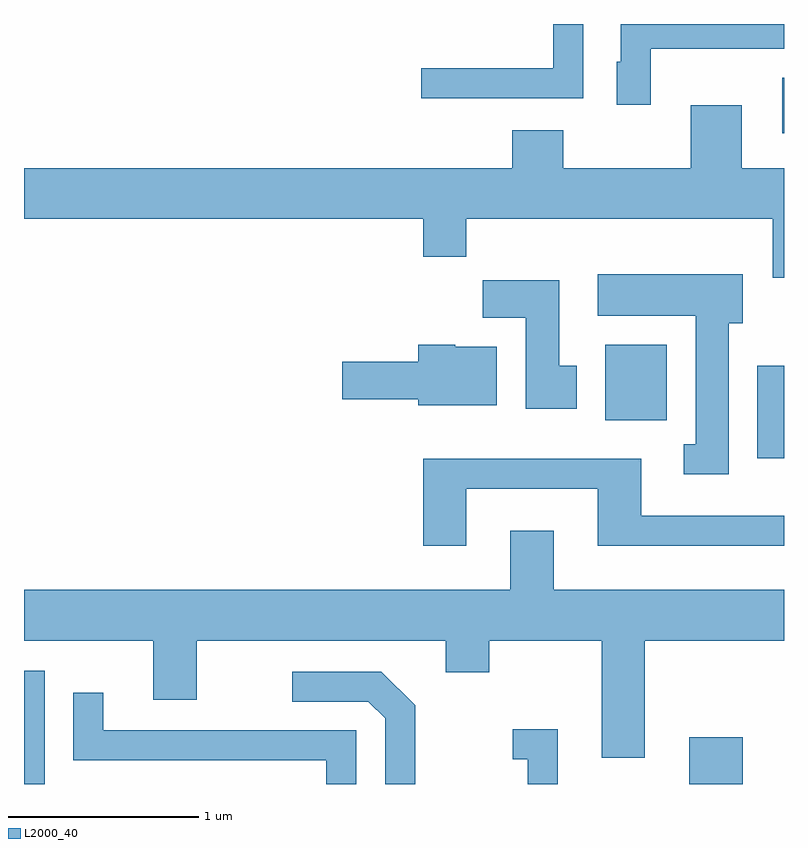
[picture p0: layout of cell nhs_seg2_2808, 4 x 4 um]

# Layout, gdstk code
import gdstk
lib = gdstk.Library(unit=1e-6, precision=1e-09)
def R(c, l, rs):  # rectangles x0, y0, x1, y1
    for r in rs: c.add(gdstk.rectangle(r[:2], r[2:], *l))
def P(c, l, *ps):  # polygons
    for p in ps: c.add(gdstk.Polygon(p, *l))
L2000_40 = (2000, 40)

nhs_seg2_2808 = lib.new_cell('nhs_seg2_2808')
R(nhs_seg2_2808, L2000_40, [(267.611,1029.802,267.719,1030.399), (271.111,1029.802,271.394,1030.049), (271.471,1031.516,271.611,1032.004), (270.671,1031.716,270.994,1032.114), (271.601,1033.226,271.611,1033.519)])
P(nhs_seg2_2808, L2000_40, [(270.909,1033.671),(271.611,1033.671),(271.611,1033.802),(270.751,1033.802),(270.751,1033.604),(270.731,1033.604),(270.731,1033.376),(270.909,1033.376)],
  [(270.554,1033.802),(270.396,1033.802),(270.396,1033.569),(269.703,1033.569),(269.703,1033.411),(270.554,1033.411)],
  [(271.611,1033.044),(271.389,1033.044),(271.389,1033.374),(271.121,1033.374),(271.121,1033.044),(270.449,1033.044),(270.449,1033.244),(270.181,1033.244),(270.181,1033.044),(267.611,1033.044),(267.611,1032.776),(269.711,1032.776),(269.711,1032.576),(269.939,1032.576),(269.939,1032.776),(271.551,1032.776),(271.551,1032.466),(271.611,1032.466)],
  [(271.319,1032.226),(271.394,1032.226),(271.394,1032.484),(270.631,1032.484),(270.631,1032.266),(271.146,1032.266),(271.146,1031.589),(271.083,1031.589),(271.083,1031.431),(271.319,1031.431)],
  [(270.519,1032.004),(270.429,1032.004),(270.429,1032.454),(270.026,1032.454),(270.026,1032.256),(270.251,1032.256),(270.251,1031.776),(270.519,1031.776)],
  [(270.099,1032.104),(269.88,1032.104),(269.88,1032.114),(269.686,1032.114),(269.686,1032.024),(269.286,1032.024),(269.286,1031.826),(269.686,1031.826),(269.686,1031.796),(270.099,1031.796)],
  [(269.939,1031.356),(270.631,1031.356),(270.631,1031.056),(271.611,1031.056),(271.611,1031.214),(270.859,1031.214),(270.859,1031.514),(269.711,1031.514),(269.711,1031.056),(269.939,1031.056)],
  [(270.879,1030.556),(271.611,1030.556),(271.611,1030.824),(270.399,1030.824),(270.399,1031.134),(270.171,1031.134),(270.171,1030.824),(267.611,1030.824),(267.611,1030.556),(268.291,1030.556),(268.291,1030.246),(268.519,1030.246),(268.519,1030.556),(269.831,1030.556),(269.831,1030.391),(270.059,1030.391),(270.059,1030.556),(270.651,1030.556),(270.651,1029.941),(270.879,1029.941)],
  [(269.669,1030.217),(269.492,1030.394),(269.023,1030.394),(269.023,1030.236),(269.424,1030.236),(269.511,1030.149),(269.511,1029.802),(269.669,1029.802)],
  [(269.359,1030.084),(268.029,1030.084),(268.029,1030.283),(267.871,1030.283),(267.871,1029.926),(269.201,1029.926),(269.201,1029.802),(269.359,1029.802)],
  [(270.419,1030.089),(270.183,1030.089),(270.183,1029.931),(270.261,1029.931),(270.261,1029.802),(270.419,1029.802)])

lib.write_gds('nhs_seg2_2808.gds')
